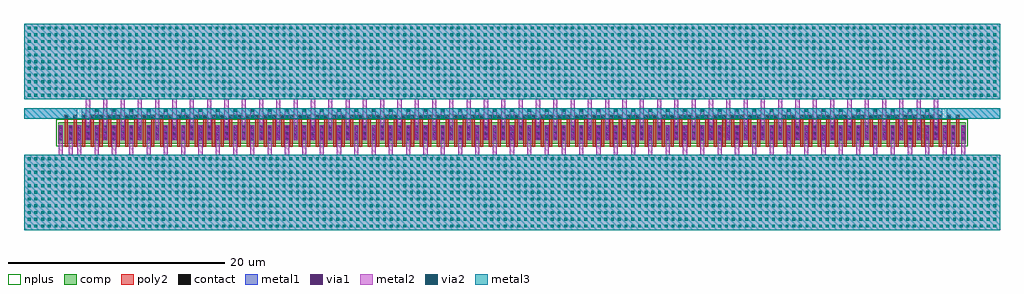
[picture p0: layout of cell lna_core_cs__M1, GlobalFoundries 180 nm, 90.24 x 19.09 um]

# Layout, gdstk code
import gdstk
lib = gdstk.Library(unit=1e-6, precision=1e-09)
def R(c, l, rs):  # rectangles x0, y0, x1, y1
    for r in rs: c.add(gdstk.rectangle(r[:2], r[2:], *l))
def A(c, l, x, y, w, h, nx, ny, dx, dy):  # array of equal rectangles
    R(c, l, [(x+i*dx, y+j*dy, x+i*dx+w, y+j*dy+h) for i in range(nx) for j in range(ny)])
def P(c, l, *ps):  # polygons
    for p in ps: c.add(gdstk.Polygon(p, *l))
comp = (22, 0)
poly2 = (30, 0)
nplus = (32, 0)
contact = (33, 0)
metal1 = (34, 0)
via1 = (35, 0)
metal2 = (36, 0)
via2 = (38, 0)
metal3 = (42, 0)

lna_core_cs__m1_pcell = lib.new_cell('lna_core_cs__M1_pcell')
R(lna_core_cs__m1_pcell, comp, [(-0.42,0,83.48,2)])
P(lna_core_cs__m1_pcell, poly2, [(41.79,-0.3),(41.79,2.3),(41.75,2.3),(41.75,2.66),(42.11,2.66),(42.11,2.3),(42.07,2.3),(42.07,-0.3)],
  [(42.59,-0.3),(42.59,2.3),(42.55,2.3),(42.55,2.66),(42.91,2.66),(42.91,2.3),(42.87,2.3),(42.87,-0.3)],
  [(43.39,-0.3),(43.39,2.3),(43.35,2.3),(43.35,2.66),(43.71,2.66),(43.71,2.3),(43.67,2.3),(43.67,-0.3)],
  [(44.19,-0.3),(44.19,2.3),(44.15,2.3),(44.15,2.66),(44.51,2.66),(44.51,2.3),(44.47,2.3),(44.47,-0.3)],
  [(44.99,-0.3),(44.99,2.3),(44.95,2.3),(44.95,2.66),(45.31,2.66),(45.31,2.3),(45.27,2.3),(45.27,-0.3)],
  [(45.79,-0.3),(45.79,2.3),(45.75,2.3),(45.75,2.66),(46.11,2.66),(46.11,2.3),(46.07,2.3),(46.07,-0.3)],
  [(46.59,-0.3),(46.59,2.3),(46.55,2.3),(46.55,2.66),(46.91,2.66),(46.91,2.3),(46.87,2.3),(46.87,-0.3)],
  [(47.39,-0.3),(47.39,2.3),(47.35,2.3),(47.35,2.66),(47.71,2.66),(47.71,2.3),(47.67,2.3),(47.67,-0.3)],
  [(48.19,-0.3),(48.19,2.3),(48.15,2.3),(48.15,2.66),(48.51,2.66),(48.51,2.3),(48.47,2.3),(48.47,-0.3)],
  [(48.99,-0.3),(48.99,2.3),(48.95,2.3),(48.95,2.66),(49.31,2.66),(49.31,2.3),(49.27,2.3),(49.27,-0.3)],
  [(49.79,-0.3),(49.79,2.3),(49.75,2.3),(49.75,2.66),(50.11,2.66),(50.11,2.3),(50.07,2.3),(50.07,-0.3)],
  [(50.59,-0.3),(50.59,2.3),(50.55,2.3),(50.55,2.66),(50.91,2.66),(50.91,2.3),(50.87,2.3),(50.87,-0.3)],
  [(51.39,-0.3),(51.39,2.3),(51.35,2.3),(51.35,2.66),(51.71,2.66),(51.71,2.3),(51.67,2.3),(51.67,-0.3)],
  [(52.19,-0.3),(52.19,2.3),(52.15,2.3),(52.15,2.66),(52.51,2.66),(52.51,2.3),(52.47,2.3),(52.47,-0.3)],
  [(52.99,-0.3),(52.99,2.3),(52.95,2.3),(52.95,2.66),(53.31,2.66),(53.31,2.3),(53.27,2.3),(53.27,-0.3)],
  [(53.79,-0.3),(53.79,2.3),(53.75,2.3),(53.75,2.66),(54.11,2.66),(54.11,2.3),(54.07,2.3),(54.07,-0.3)],
  [(54.59,-0.3),(54.59,2.3),(54.55,2.3),(54.55,2.66),(54.91,2.66),(54.91,2.3),(54.87,2.3),(54.87,-0.3)],
  [(55.39,-0.3),(55.39,2.3),(55.35,2.3),(55.35,2.66),(55.71,2.66),(55.71,2.3),(55.67,2.3),(55.67,-0.3)],
  [(56.19,-0.3),(56.19,2.3),(56.15,2.3),(56.15,2.66),(56.51,2.66),(56.51,2.3),(56.47,2.3),(56.47,-0.3)],
  [(56.99,-0.3),(56.99,2.3),(56.95,2.3),(56.95,2.66),(57.31,2.66),(57.31,2.3),(57.27,2.3),(57.27,-0.3)],
  [(57.79,-0.3),(57.79,2.3),(57.75,2.3),(57.75,2.66),(58.11,2.66),(58.11,2.3),(58.07,2.3),(58.07,-0.3)],
  [(58.59,-0.3),(58.59,2.3),(58.55,2.3),(58.55,2.66),(58.91,2.66),(58.91,2.3),(58.87,2.3),(58.87,-0.3)],
  [(59.39,-0.3),(59.39,2.3),(59.35,2.3),(59.35,2.66),(59.71,2.66),(59.71,2.3),(59.67,2.3),(59.67,-0.3)],
  [(60.19,-0.3),(60.19,2.3),(60.15,2.3),(60.15,2.66),(60.51,2.66),(60.51,2.3),(60.47,2.3),(60.47,-0.3)],
  [(60.99,-0.3),(60.99,2.3),(60.95,2.3),(60.95,2.66),(61.31,2.66),(61.31,2.3),(61.27,2.3),(61.27,-0.3)],
  [(61.79,-0.3),(61.79,2.3),(61.75,2.3),(61.75,2.66),(62.11,2.66),(62.11,2.3),(62.07,2.3),(62.07,-0.3)],
  [(62.59,-0.3),(62.59,2.3),(62.55,2.3),(62.55,2.66),(62.91,2.66),(62.91,2.3),(62.87,2.3),(62.87,-0.3)],
  [(63.39,-0.3),(63.39,2.3),(63.35,2.3),(63.35,2.66),(63.71,2.66),(63.71,2.3),(63.67,2.3),(63.67,-0.3)],
  [(64.19,-0.3),(64.19,2.3),(64.15,2.3),(64.15,2.66),(64.51,2.66),(64.51,2.3),(64.47,2.3),(64.47,-0.3)],
  [(64.99,-0.3),(64.99,2.3),(64.95,2.3),(64.95,2.66),(65.31,2.66),(65.31,2.3),(65.27,2.3),(65.27,-0.3)],
  [(65.79,-0.3),(65.79,2.3),(65.75,2.3),(65.75,2.66),(66.11,2.66),(66.11,2.3),(66.07,2.3),(66.07,-0.3)],
  [(66.59,-0.3),(66.59,2.3),(66.55,2.3),(66.55,2.66),(66.91,2.66),(66.91,2.3),(66.87,2.3),(66.87,-0.3)],
  [(67.39,-0.3),(67.39,2.3),(67.35,2.3),(67.35,2.66),(67.71,2.66),(67.71,2.3),(67.67,2.3),(67.67,-0.3)],
  [(68.19,-0.3),(68.19,2.3),(68.15,2.3),(68.15,2.66),(68.51,2.66),(68.51,2.3),(68.47,2.3),(68.47,-0.3)],
  [(68.99,-0.3),(68.99,2.3),(68.95,2.3),(68.95,2.66),(69.31,2.66),(69.31,2.3),(69.27,2.3),(69.27,-0.3)],
  [(69.79,-0.3),(69.79,2.3),(69.75,2.3),(69.75,2.66),(70.11,2.66),(70.11,2.3),(70.07,2.3),(70.07,-0.3)],
  [(70.59,-0.3),(70.59,2.3),(70.55,2.3),(70.55,2.66),(70.91,2.66),(70.91,2.3),(70.87,2.3),(70.87,-0.3)],
  [(71.39,-0.3),(71.39,2.3),(71.35,2.3),(71.35,2.66),(71.71,2.66),(71.71,2.3),(71.67,2.3),(71.67,-0.3)],
  [(72.19,-0.3),(72.19,2.3),(72.15,2.3),(72.15,2.66),(72.51,2.66),(72.51,2.3),(72.47,2.3),(72.47,-0.3)],
  [(72.99,-0.3),(72.99,2.3),(72.95,2.3),(72.95,2.66),(73.31,2.66),(73.31,2.3),(73.27,2.3),(73.27,-0.3)],
  [(73.79,-0.3),(73.79,2.3),(73.75,2.3),(73.75,2.66),(74.11,2.66),(74.11,2.3),(74.07,2.3),(74.07,-0.3)],
  [(74.59,-0.3),(74.59,2.3),(74.55,2.3),(74.55,2.66),(74.91,2.66),(74.91,2.3),(74.87,2.3),(74.87,-0.3)],
  [(75.39,-0.3),(75.39,2.3),(75.35,2.3),(75.35,2.66),(75.71,2.66),(75.71,2.3),(75.67,2.3),(75.67,-0.3)],
  [(76.19,-0.3),(76.19,2.3),(76.15,2.3),(76.15,2.66),(76.51,2.66),(76.51,2.3),(76.47,2.3),(76.47,-0.3)],
  [(76.99,-0.3),(76.99,2.3),(76.95,2.3),(76.95,2.66),(77.31,2.66),(77.31,2.3),(77.27,2.3),(77.27,-0.3)],
  [(77.79,-0.3),(77.79,2.3),(77.75,2.3),(77.75,2.66),(78.11,2.66),(78.11,2.3),(78.07,2.3),(78.07,-0.3)],
  [(78.59,-0.3),(78.59,2.3),(78.55,2.3),(78.55,2.66),(78.91,2.66),(78.91,2.3),(78.87,2.3),(78.87,-0.3)],
  [(79.39,-0.3),(79.39,2.3),(79.35,2.3),(79.35,2.66),(79.71,2.66),(79.71,2.3),(79.67,2.3),(79.67,-0.3)],
  [(80.19,-0.3),(80.19,2.3),(80.15,2.3),(80.15,2.66),(80.51,2.66),(80.51,2.3),(80.47,2.3),(80.47,-0.3)],
  [(80.99,-0.3),(80.99,2.3),(80.95,2.3),(80.95,2.66),(81.31,2.66),(81.31,2.3),(81.27,2.3),(81.27,-0.3)],
  [(81.79,-0.3),(81.79,2.3),(81.75,2.3),(81.75,2.66),(82.11,2.66),(82.11,2.3),(82.07,2.3),(82.07,-0.3)],
  [(82.59,-0.3),(82.59,2.3),(82.55,2.3),(82.55,2.66),(82.91,2.66),(82.91,2.3),(82.87,2.3),(82.87,-0.3)],
  [(0.19,-0.3),(0.19,2.3),(0.15,2.3),(0.15,2.66),(0.51,2.66),(0.51,2.3),(0.47,2.3),(0.47,-0.3)],
  [(0.99,-0.3),(0.99,2.3),(0.95,2.3),(0.95,2.66),(1.31,2.66),(1.31,2.3),(1.27,2.3),(1.27,-0.3)],
  [(1.79,-0.3),(1.79,2.3),(1.75,2.3),(1.75,2.66),(2.11,2.66),(2.11,2.3),(2.07,2.3),(2.07,-0.3)],
  [(2.59,-0.3),(2.59,2.3),(2.55,2.3),(2.55,2.66),(2.91,2.66),(2.91,2.3),(2.87,2.3),(2.87,-0.3)],
  [(3.39,-0.3),(3.39,2.3),(3.35,2.3),(3.35,2.66),(3.71,2.66),(3.71,2.3),(3.67,2.3),(3.67,-0.3)],
  [(4.19,-0.3),(4.19,2.3),(4.15,2.3),(4.15,2.66),(4.51,2.66),(4.51,2.3),(4.47,2.3),(4.47,-0.3)],
  [(4.99,-0.3),(4.99,2.3),(4.95,2.3),(4.95,2.66),(5.31,2.66),(5.31,2.3),(5.27,2.3),(5.27,-0.3)],
  [(5.79,-0.3),(5.79,2.3),(5.75,2.3),(5.75,2.66),(6.11,2.66),(6.11,2.3),(6.07,2.3),(6.07,-0.3)],
  [(6.59,-0.3),(6.59,2.3),(6.55,2.3),(6.55,2.66),(6.91,2.66),(6.91,2.3),(6.87,2.3),(6.87,-0.3)],
  [(7.39,-0.3),(7.39,2.3),(7.35,2.3),(7.35,2.66),(7.71,2.66),(7.71,2.3),(7.67,2.3),(7.67,-0.3)],
  [(8.19,-0.3),(8.19,2.3),(8.15,2.3),(8.15,2.66),(8.51,2.66),(8.51,2.3),(8.47,2.3),(8.47,-0.3)],
  [(8.99,-0.3),(8.99,2.3),(8.95,2.3),(8.95,2.66),(9.31,2.66),(9.31,2.3),(9.27,2.3),(9.27,-0.3)],
  [(9.79,-0.3),(9.79,2.3),(9.75,2.3),(9.75,2.66),(10.11,2.66),(10.11,2.3),(10.07,2.3),(10.07,-0.3)],
  [(10.59,-0.3),(10.59,2.3),(10.55,2.3),(10.55,2.66),(10.91,2.66),(10.91,2.3),(10.87,2.3),(10.87,-0.3)],
  [(11.39,-0.3),(11.39,2.3),(11.35,2.3),(11.35,2.66),(11.71,2.66),(11.71,2.3),(11.67,2.3),(11.67,-0.3)],
  [(12.19,-0.3),(12.19,2.3),(12.15,2.3),(12.15,2.66),(12.51,2.66),(12.51,2.3),(12.47,2.3),(12.47,-0.3)],
  [(12.99,-0.3),(12.99,2.3),(12.95,2.3),(12.95,2.66),(13.31,2.66),(13.31,2.3),(13.27,2.3),(13.27,-0.3)],
  [(13.79,-0.3),(13.79,2.3),(13.75,2.3),(13.75,2.66),(14.11,2.66),(14.11,2.3),(14.07,2.3),(14.07,-0.3)],
  [(14.59,-0.3),(14.59,2.3),(14.55,2.3),(14.55,2.66),(14.91,2.66),(14.91,2.3),(14.87,2.3),(14.87,-0.3)],
  [(15.39,-0.3),(15.39,2.3),(15.35,2.3),(15.35,2.66),(15.71,2.66),(15.71,2.3),(15.67,2.3),(15.67,-0.3)],
  [(16.19,-0.3),(16.19,2.3),(16.15,2.3),(16.15,2.66),(16.51,2.66),(16.51,2.3),(16.47,2.3),(16.47,-0.3)],
  [(16.99,-0.3),(16.99,2.3),(16.95,2.3),(16.95,2.66),(17.31,2.66),(17.31,2.3),(17.27,2.3),(17.27,-0.3)],
  [(17.79,-0.3),(17.79,2.3),(17.75,2.3),(17.75,2.66),(18.11,2.66),(18.11,2.3),(18.07,2.3),(18.07,-0.3)],
  [(18.59,-0.3),(18.59,2.3),(18.55,2.3),(18.55,2.66),(18.91,2.66),(18.91,2.3),(18.87,2.3),(18.87,-0.3)],
  [(19.39,-0.3),(19.39,2.3),(19.35,2.3),(19.35,2.66),(19.71,2.66),(19.71,2.3),(19.67,2.3),(19.67,-0.3)],
  [(20.19,-0.3),(20.19,2.3),(20.15,2.3),(20.15,2.66),(20.51,2.66),(20.51,2.3),(20.47,2.3),(20.47,-0.3)],
  [(20.99,-0.3),(20.99,2.3),(20.95,2.3),(20.95,2.66),(21.31,2.66),(21.31,2.3),(21.27,2.3),(21.27,-0.3)],
  [(21.79,-0.3),(21.79,2.3),(21.75,2.3),(21.75,2.66),(22.11,2.66),(22.11,2.3),(22.07,2.3),(22.07,-0.3)],
  [(22.59,-0.3),(22.59,2.3),(22.55,2.3),(22.55,2.66),(22.91,2.66),(22.91,2.3),(22.87,2.3),(22.87,-0.3)],
  [(23.39,-0.3),(23.39,2.3),(23.35,2.3),(23.35,2.66),(23.71,2.66),(23.71,2.3),(23.67,2.3),(23.67,-0.3)],
  [(24.19,-0.3),(24.19,2.3),(24.15,2.3),(24.15,2.66),(24.51,2.66),(24.51,2.3),(24.47,2.3),(24.47,-0.3)],
  [(24.99,-0.3),(24.99,2.3),(24.95,2.3),(24.95,2.66),(25.31,2.66),(25.31,2.3),(25.27,2.3),(25.27,-0.3)],
  [(25.79,-0.3),(25.79,2.3),(25.75,2.3),(25.75,2.66),(26.11,2.66),(26.11,2.3),(26.07,2.3),(26.07,-0.3)],
  [(26.59,-0.3),(26.59,2.3),(26.55,2.3),(26.55,2.66),(26.91,2.66),(26.91,2.3),(26.87,2.3),(26.87,-0.3)],
  [(27.39,-0.3),(27.39,2.3),(27.35,2.3),(27.35,2.66),(27.71,2.66),(27.71,2.3),(27.67,2.3),(27.67,-0.3)],
  [(28.19,-0.3),(28.19,2.3),(28.15,2.3),(28.15,2.66),(28.51,2.66),(28.51,2.3),(28.47,2.3),(28.47,-0.3)],
  [(28.99,-0.3),(28.99,2.3),(28.95,2.3),(28.95,2.66),(29.31,2.66),(29.31,2.3),(29.27,2.3),(29.27,-0.3)],
  [(29.79,-0.3),(29.79,2.3),(29.75,2.3),(29.75,2.66),(30.11,2.66),(30.11,2.3),(30.07,2.3),(30.07,-0.3)],
  [(30.59,-0.3),(30.59,2.3),(30.55,2.3),(30.55,2.66),(30.91,2.66),(30.91,2.3),(30.87,2.3),(30.87,-0.3)],
  [(31.39,-0.3),(31.39,2.3),(31.35,2.3),(31.35,2.66),(31.71,2.66),(31.71,2.3),(31.67,2.3),(31.67,-0.3)],
  [(32.19,-0.3),(32.19,2.3),(32.15,2.3),(32.15,2.66),(32.51,2.66),(32.51,2.3),(32.47,2.3),(32.47,-0.3)],
  [(32.99,-0.3),(32.99,2.3),(32.95,2.3),(32.95,2.66),(33.31,2.66),(33.31,2.3),(33.27,2.3),(33.27,-0.3)],
  [(33.79,-0.3),(33.79,2.3),(33.75,2.3),(33.75,2.66),(34.11,2.66),(34.11,2.3),(34.07,2.3),(34.07,-0.3)],
  [(34.59,-0.3),(34.59,2.3),(34.55,2.3),(34.55,2.66),(34.91,2.66),(34.91,2.3),(34.87,2.3),(34.87,-0.3)],
  [(35.39,-0.3),(35.39,2.3),(35.35,2.3),(35.35,2.66),(35.71,2.66),(35.71,2.3),(35.67,2.3),(35.67,-0.3)],
  [(36.19,-0.3),(36.19,2.3),(36.15,2.3),(36.15,2.66),(36.51,2.66),(36.51,2.3),(36.47,2.3),(36.47,-0.3)],
  [(36.99,-0.3),(36.99,2.3),(36.95,2.3),(36.95,2.66),(37.31,2.66),(37.31,2.3),(37.27,2.3),(37.27,-0.3)],
  [(37.79,-0.3),(37.79,2.3),(37.75,2.3),(37.75,2.66),(38.11,2.66),(38.11,2.3),(38.07,2.3),(38.07,-0.3)],
  [(38.59,-0.3),(38.59,2.3),(38.55,2.3),(38.55,2.66),(38.91,2.66),(38.91,2.3),(38.87,2.3),(38.87,-0.3)],
  [(39.39,-0.3),(39.39,2.3),(39.35,2.3),(39.35,2.66),(39.71,2.66),(39.71,2.3),(39.67,2.3),(39.67,-0.3)],
  [(40.19,-0.3),(40.19,2.3),(40.15,2.3),(40.15,2.66),(40.51,2.66),(40.51,2.3),(40.47,2.3),(40.47,-0.3)],
  [(40.99,-0.3),(40.99,2.3),(40.95,2.3),(40.95,2.66),(41.31,2.66),(41.31,2.3),(41.27,2.3),(41.27,-0.3)])
R(lna_core_cs__m1_pcell, nplus, [(-0.59,-0.24,83.65,2.24)])
A(lna_core_cs__m1_pcell, contact, -0.32, 0.38, 0.22, 0.22, 1, 3, 0, 0.51)
A(lna_core_cs__m1_pcell, contact, 0.62, 0.38, 0.22, 0.22, 103, 3, 0.8, 0.51)
A(lna_core_cs__m1_pcell, contact, 83.16, 0.38, 0.22, 0.22, 1, 3, 0, 0.51)
A(lna_core_cs__m1_pcell, contact, 0.22, 2.37, 0.22, 0.22, 104, 1, 0.8, 0)
A(lna_core_cs__m1_pcell, metal1, 0.54, 0.3, 0.38, 1.4, 103, 1, 0.8, 0)
A(lna_core_cs__m1_pcell, metal1, 0.14, 2.29, 0.38, 0.38, 104, 1, 0.8, 0)
R(lna_core_cs__m1_pcell, metal1, [(-0.4,0.3,-0.02,1.7), (83.08,0.3,83.46,1.7)])

lna_core_cs__m1 = lib.new_cell('lna_core_cs__M1')
R(lna_core_cs__m1, metal1, [(-3.59,2.29,1.32,3.29), (1.74,2.29,81.32,3.29), (81.74,2.29,86.65,3.29)])
A(lna_core_cs__m1, via1, 0.6, 0.56, 0.26, 0.26, 103, 2, 0.8, 0.62)
A(lna_core_cs__m1, via1, 3, 2.35, 0.26, 0.26, 49, 2, 1.6, 0.62)
R(lna_core_cs__m1, via1, [(-0.34,0.56,-0.08,0.82), (83.14,0.56,83.4,0.82), (-0.34,1.18,-0.08,1.44), (83.14,1.18,83.4,1.44)])
A(lna_core_cs__m1, metal2, 1.34, -1.5, 0.38, 3.2, 51, 1, 1.6, 0)
A(lna_core_cs__m1, metal2, 2.14, 0.3, 0.38, 4.29, 50, 1, 1.6, 0)
A(lna_core_cs__m1, metal2, 2.94, 2.29, 0.38, 1, 49, 1, 1.6, 0)
R(lna_core_cs__m1, metal2, [(-3.59,-8,86.65,-1), (-0.4,-1.5,-0.02,1.7), (0.54,-1.5,0.92,1.7), (82.14,-1.5,82.52,1.7), (83.08,-1.5,83.46,1.7), (-3.59,4.09,86.65,11.09)])
A(lna_core_cs__m1, via2, -3.24, -7.73, 0.26, 0.26, 145, 11, 0.62, 0.62)
A(lna_core_cs__m1, via2, 3, 2.35, 0.26, 0.26, 49, 2, 1.6, 0.62)
A(lna_core_cs__m1, via2, -3.24, 4.36, 0.26, 0.26, 145, 11, 0.62, 0.62)
R(lna_core_cs__m1, metal3, [(-3.59,-8,86.65,-1), (-3.59,2.29,86.65,3.29), (-3.59,4.09,86.65,11.09)])
lna_core_cs__m1.add(gdstk.Reference(lna_core_cs__m1_pcell, (0,0)))

lib.write_gds('lna_core_cs__M1.gds')
